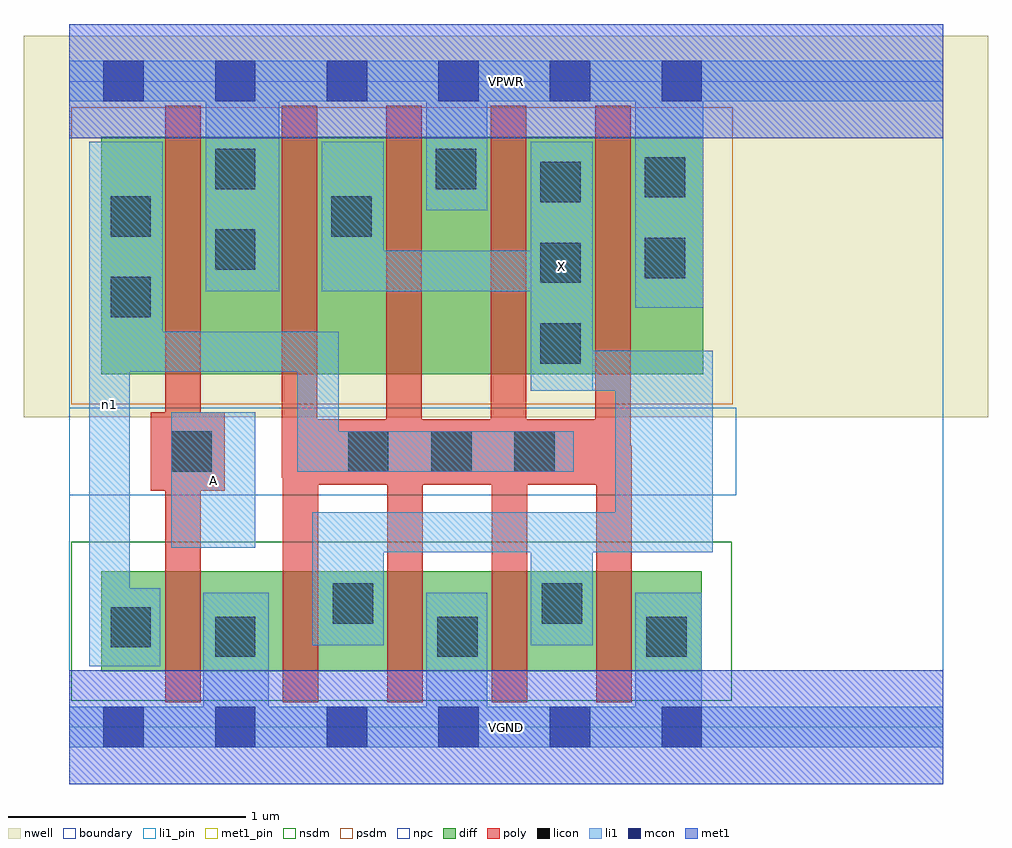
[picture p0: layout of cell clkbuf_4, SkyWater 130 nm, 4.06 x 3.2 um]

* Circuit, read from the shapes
.subckt clkbuf_4 A VGND VPWR X n1
XM1 VGND A n1 VSUBS sky130_fd_pr__nfet_01v8 w=0.42 l=0.15
XM2 X n1 VGND VSUBS sky130_fd_pr__nfet_01v8 w=0.42 l=0.15 m=4
XM3 VPWR A n1 n2 sky130_fd_pr__pfet_01v8 w=1 l=0.15
XM4 X n1 VPWR n2 sky130_fd_pr__pfet_01v8 w=1 l=0.15 m=4
.ends

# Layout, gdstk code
import gdstk
lib = gdstk.Library(unit=1e-6, precision=1e-09)
def R(c, l, rs):  # rectangles x0, y0, x1, y1
    for r in rs: c.add(gdstk.rectangle(r[:2], r[2:], *l))
def A(c, l, x, y, w, h, nx, ny, dx, dy):  # array of equal rectangles
    R(c, l, [(x+i*dx, y+j*dy, x+i*dx+w, y+j*dy+h) for i in range(nx) for j in range(ny)])
nwell = (64, 20)
diff = (65, 20)
poly = (66, 20)
licon = (66, 44)
li1_pin = (67, 16)
li1 = (67, 20)
mcon = (67, 44)
met1_pin = (68, 16)
met1 = (68, 20)
nsdm = (93, 44)
psdm = (94, 20)
npc = (95, 20)
boundary = (235, 4)

clkbuf_4 = lib.new_cell('clkbuf_4')
R(clkbuf_4, nwell, [(-0.19,1.305,3.87,2.91), (0,1.305,3.68,2.91)])
R(clkbuf_4, diff, [(0.135,0.235,2.665,0.655), (0.135,1.485,2.67,2.485)])
A(clkbuf_4, poly, 0.9, 0.105, 0.15, 1.19, 3, 1, 0.44, 0)
A(clkbuf_4, poly, 1.335, 1.02, 0.15, 1.595, 3, 1, 0.44, 0)
R(clkbuf_4, poly, [(0.405,0.105,0.555,2.615), (2.22,0.105,2.37,1.185), (0.345,0.995,0.655,1.325), (0.9,1.02,2.365,1.295), (0.895,1.05,1.045,2.615)])
A(clkbuf_4, licon, 1.175, 1.075, 0.17, 0.17, 3, 1, 0.35, 0)
A(clkbuf_4, licon, 1.985, 1.53, 0.17, 0.17, 1, 3, 0, 0.34)
R(clkbuf_4, licon, [(0.615,0.295,0.785,0.465), (1.55,0.295,1.72,0.465), (2.43,0.295,2.6,0.465), (0.175,0.335,0.345,0.505), (1.11,0.435,1.28,0.605), (1.99,0.435,2.16,0.605), (0.43,1.075,0.6,1.245), (0.175,1.725,0.345,1.895), (2.425,1.89,2.595,2.06), (0.615,1.925,0.785,2.095), (0.175,2.065,0.345,2.235), (1.105,2.065,1.275,2.235), (2.425,2.23,2.595,2.4), (0.615,2.265,0.785,2.435), (1.545,2.265,1.715,2.435)])
R(clkbuf_4, li1_pin, [(0.43,0.755,0.785,1.325), (1.945,1.415,2.205,2.465)])
R(clkbuf_4, li1, [(0,-0.085,3.68,0.085), (0.565,-0.085,0.84,0.565), (1.505,-0.085,1.76,0.565), (2.385,-0.085,2.665,0.565), (0.085,0.255,0.255,2.465), (0.085,0.255,0.385,0.585), (1.025,0.345,1.325,0.905), (1.945,0.345,2.205,0.905), (1.025,0.735,2.71,0.905), (2.3,0.735,2.71,1.585), (0.43,0.755,0.785,1.325), (0.96,1.075,2.125,1.245), (0.96,1.075,1.135,1.665), (1.945,1.415,2.205,2.465), (1.945,1.415,2.71,1.585), (0.085,1.495,1.135,1.665), (0.085,1.495,0.395,2.465), (2.385,1.765,2.67,2.805), (0.575,1.835,0.885,2.805), (1.065,1.835,1.325,2.465), (1.065,1.835,2.205,2.005), (1.505,2.175,1.76,2.805), (0,2.635,3.68,2.805)])
A(clkbuf_4, mcon, 0.145, -0.085, 0.17, 0.17, 6, 2, 0.47, 2.72)
R(clkbuf_4, met1_pin, [(0,-0.24,3.68,0.24), (0,2.48,3.68,2.96)])
R(clkbuf_4, met1, [(0,-0.24,3.68,0.24), (0,2.48,3.68,2.96)])
R(clkbuf_4, nsdm, [(0.01,0.11,2.79,0.78)])
R(clkbuf_4, psdm, [(0.01,1.36,2.795,2.61)])
R(clkbuf_4, npc, [(0,0.975,2.81,1.345)])
R(clkbuf_4, boundary, [(0,0,3.68,2.72)])
clkbuf_4.add(gdstk.Label('A', (0.607,1.04), layer=67, texttype=5))
clkbuf_4.add(gdstk.Label('X', (2.075,1.94), layer=67, texttype=5))
clkbuf_4.add(gdstk.Label('n1', (0.17,1.36), layer=67, texttype=5))
clkbuf_4.add(gdstk.Label('VPWR', (1.84,2.72), layer=68, texttype=5))
clkbuf_4.add(gdstk.Label('VGND', (1.84,0), layer=68, texttype=5))
clkbuf_4.add(gdstk.Label('A', (0.607,1.04), layer=67, texttype=16))
clkbuf_4.add(gdstk.Label('X', (2.075,1.94), layer=67, texttype=16))
clkbuf_4.add(gdstk.Label('VPWR', (1.84,2.72), layer=68, texttype=16))
clkbuf_4.add(gdstk.Label('VGND', (1.84,0), layer=68, texttype=16))

lib.write_gds('clkbuf_4.gds')
